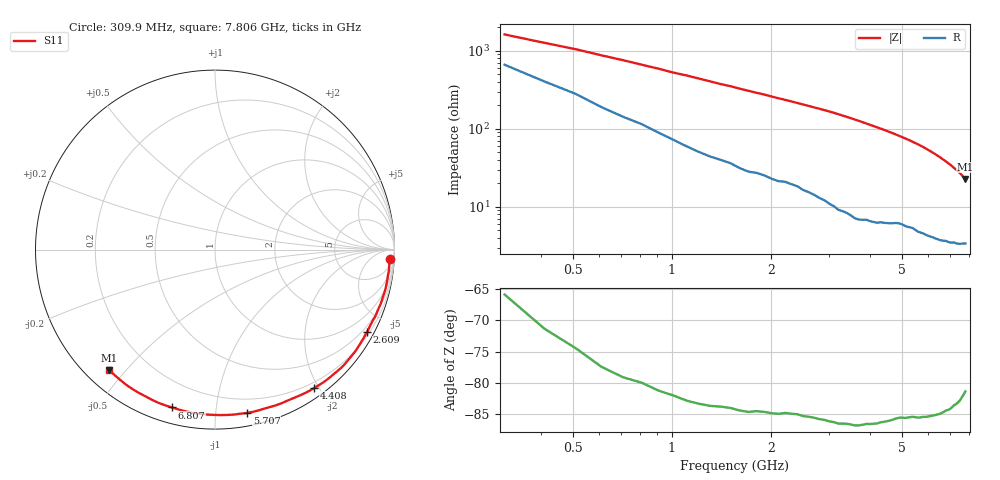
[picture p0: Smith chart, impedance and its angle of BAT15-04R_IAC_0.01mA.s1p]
! Infineon Technologies  Discrete & RF Semiconductors
! BAT15-04R
! IAC = 0.01 mA
! One-Port S-Parameters
# Hz  S  MA  R  50
!f  S11
!Hz  Mag  Ang
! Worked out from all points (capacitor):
!   76 points, 309.9 MHz to 7.806 GHz, reference 50 ohm
!   read as one part to ground: C = 325 fF near 309.9 MHz
!   lowest |Z| = 22.8 ohm at 7.806 GHz (marker M1)
!   S11 on the Smith chart (normalised r, x): 309.9 MHz: 13, -30; 2.609 GHz: 0.31, -3.91; 4.408 GHz: 0.13, -1.94; 5.707 GHz: 0.09, -1.21; 6.807 GHz: 0.07, -0.76; 7.806 GHz: 0.07, -0.45
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3.0985e8  0.975 -3.2
7.0965e8  0.9755 -7.4
1.10945e9  0.9749 -11.8
1.30935e9  0.9738 -14.0
1.70915e9  0.9712 -18.4
2.2089e9  0.9643 -23.9
2.6087e9  0.963 -28.5
2.8086e9  0.9637 -30.8
3.2084e9  0.9656 -35.9
3.70815e9  0.9633 -43.2
4.10795e9  0.956 -49.5
4.4078e9  0.949 -54.3
4.70765e9  0.9407 -59.5
5.0075e9  0.9331 -64.9
5.2074e9  0.9315 -68.7
5.50725e9  0.9282 -74.7
5.70715e9  0.9273 -78.8
6.007e9  0.9238 -85.7
6.30685e9  0.9201 -92.7
6.50675e9  0.918 -97.6
6.70665e9  0.9139 -102.7
6.8066e9  0.9114 -105.3
6.90655e9  0.911 -107.7
7.10645e9  0.9075 -112.9
7.2064e9  0.9044 -115.6
7.4063e9  0.9027 -120.6
7.6062e9  0.8979 -126.0
7.8061e9  0.893 -131.3
